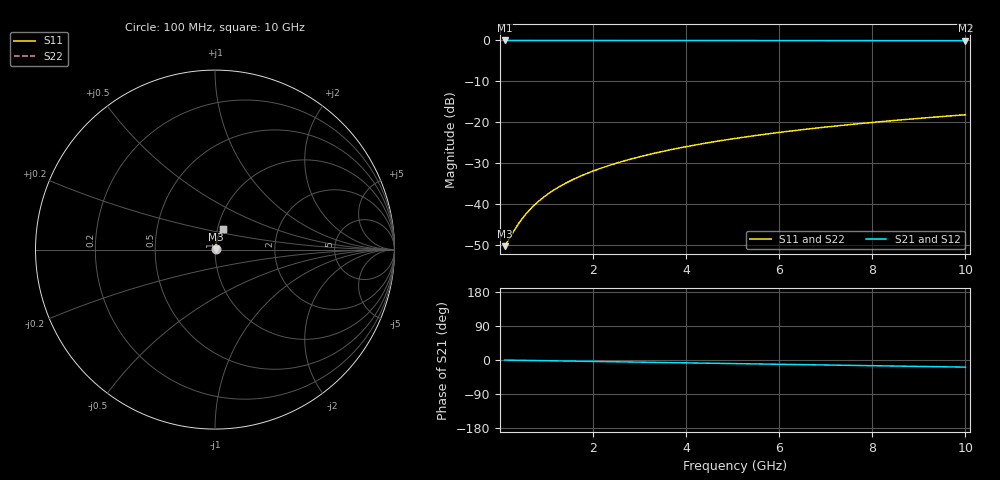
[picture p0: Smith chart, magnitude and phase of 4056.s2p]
# Hz S RI R 50.00
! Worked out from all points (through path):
!   100 points, 100 MHz to 10 GHz, reference 50 ohm
!   highest |S21| = -0.02 dB at 100 MHz (marker M1); lowest = -0.1 dB at 10 GHz (marker M2)
!   group delay of S21, straight-line fit = 5.22 ps
!   lowest |S11| = -50.3 dB at 100 MHz (marker M3), VSWR 1.01, Z = 50.3 + j0.126 ohm
!   |S11| at or under -10 dB: start of sweep to end of sweep
!   |S22| runs from -50.3 to -18.2 dB; largest |S21 - S12| = 0
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1e8  0.0028 0.00125  0.9972 -0.00328  0.9972 -0.00328  0.0028 0.00125
2e8  0.00283 0.0025  0.9972 -0.00656  0.9972 -0.00656  0.00283 0.0025
3e8  0.00287 0.00376  0.9971 -0.00984  0.9971 -0.00984  0.00287 0.00376
4e8  0.00291 0.00501  0.9971 -0.0131  0.9971 -0.0131  0.00291 0.00501
5e8  0.00295 0.00626  0.997 -0.0164  0.997 -0.0164  0.00295 0.00626
6e8  0.00301 0.00751  0.9969 -0.0197  0.9969 -0.0197  0.00301 0.00751
7e8  0.00307 0.00876  0.9968 -0.023  0.9968 -0.023  0.00307 0.00876
8e8  0.00313 0.01  0.9967 -0.0262  0.9967 -0.0262  0.00313 0.01
1e9  0.00329 0.0125  0.9965 -0.0328  0.9965 -0.0328  0.00329 0.0125
1.2e9  0.00348 0.015  0.9962 -0.0393  0.9962 -0.0393  0.00348 0.015
1.5e9  0.00383 0.0187  0.9957 -0.0492  0.9957 -0.0492  0.00383 0.0187
1.8e9  0.00425 0.0225  0.995 -0.059  0.995 -0.059  0.00425 0.0225
2.1e9  0.00474 0.0262  0.9943 -0.0688  0.9943 -0.0688  0.00474 0.0262
2.5e9  0.00551 0.0311  0.9932 -0.0818  0.9932 -0.0818  0.00551 0.0311
2.9e9  0.0064 0.0361  0.9918 -0.0949  0.9918 -0.0949  0.0064 0.0361
3.4e9  0.0077 0.0422  0.9898 -0.1111  0.9898 -0.1111  0.0077 0.0422
4.2e9  0.0102 0.0519  0.9861 -0.137  0.9861 -0.137  0.0102 0.0519
5.1e9  0.0136 0.0626  0.9809 -0.166  0.9809 -0.166  0.0136 0.0626
5.9e9  0.0172 0.0719  0.9755 -0.1916  0.9755 -0.1916  0.0172 0.0719
6.7e9  0.0212 0.081  0.9694 -0.2169  0.9694 -0.2169  0.0212 0.081
8.4e9  0.0313 0.0996  0.9539 -0.27  0.9539 -0.27  0.0313 0.0996
1e10  0.0426 0.1159  0.9364 -0.3187  0.9364 -0.3187  0.0426 0.1159
